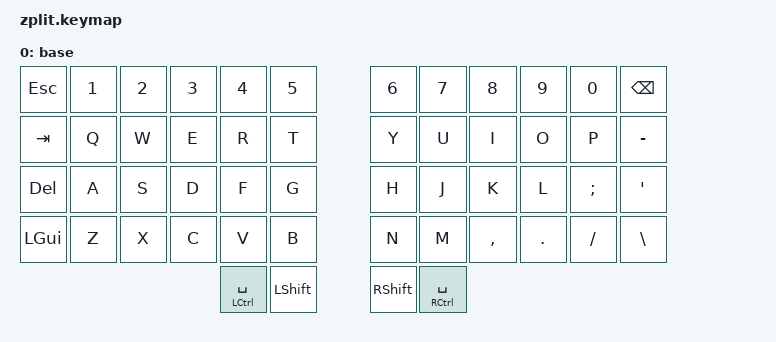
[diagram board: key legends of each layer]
#include <behaviors.dtsi>
#include <dt-bindings/zmk/keys.h>

 / {
    keymap {
        compatible = "zmk,keymap";
        default_layer {
            display-name="base";
            bindings = <
                // ┌────────┬──────┬──────┬──────────┬──────────┬─────────┐                                   ┌─────────┬───────────┬──────────────┬───────┬────────┬──────────────┐
                // │        │      │      │          │          │         │                                   │         │           │              │       │        │              │
                    &kp ESC  &kp 1  &kp 2  &kp 3      &kp 4      &kp 5                                         &kp 6     &kp 7       &kp 8          &kp 9   &kp 0    &kp BACKSPACE
                // ┌────────┬──────┬──────┬──────────┬──────────┬─────────┐                                   ┌─────────┬───────────┬──────────────┬───────┬────────┬──────────────┐
                // │        │      │      │          │          │         │                                   │         │           │              │       │        │              │
                    &kp TAB  &kp Q  &kp W  &kp E      &kp R      &kp T                                         &kp Y     &kp U       &kp I          &kp O   &kp P    &kp MINUS
                // ├────────┼──────┼──────┼──────────┼──────────┼─────────┤                                   ├─────────┼───────────┼──────────────┼───────┼────────┼──────────────┤
                // │        │      │      │          │          │         │                                   │         │           │              │       │        │              │
                    &kp DEL  &kp A  &kp S  &kp D      &kp F      &kp G                                         &kp H     &kp J       &kp K          &kp L   &kp SEMI &kp SINGLE_QUOTE
                // ├────────┼──────┼──────┼──────────┼──────────┼─────────┤                                   ├─────────┼───────────┼──────────────┼───────┼────────┼──────────────┤
                // │        │      │      │          │          │         │                                   │         │           │              │       │        │              │
                &kp LEFT_GUI &kp Z  &kp X  &kp C      &kp V      &kp B                                         &kp N     &kp M       &kp COMMA      &kp DOT &kp FSLH &kp BACKSLASH
                // └────────┴──────┴──────┼──────────┼──────────┼─────────┼─────────┐              ┌──────────├─────────┼───────────┼──────────────┼───────┴────────┴──────────────┘
                //                                              │         │         │              │          │         │
                                                            &mt LCTRL SPACE  &kp LSHFT              &kp RSHFT   &mt RCTRL SPACE    
                //                                              └─────────┴─────────┴              └──────────┴─────────┘ 
            >;
        };
    };
 };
